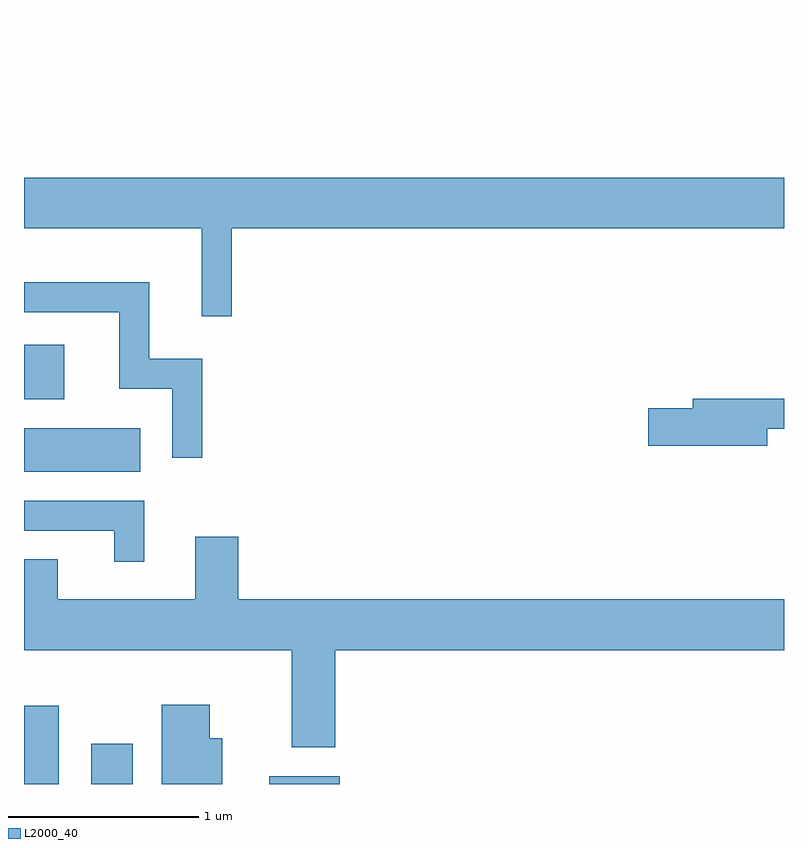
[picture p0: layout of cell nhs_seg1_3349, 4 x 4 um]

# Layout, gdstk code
import gdstk
lib = gdstk.Library(unit=1e-6, precision=1e-09)
def R(c, l, rs):  # rectangles x0, y0, x1, y1
    for r in rs: c.add(gdstk.rectangle(r[:2], r[2:], *l))
def P(c, l, *ps):  # polygons
    for p in ps: c.add(gdstk.Polygon(p, *l))
L2000_40 = (2000, 40)

nhs_seg1_3349 = lib.new_cell('nhs_seg1_3349')
R(nhs_seg1_3349, L2000_40, [(285.611,947.712,285.794,948.124), (285.966,947.712,286.184,947.924), (286.901,947.712,287.274,947.754), (285.611,949.356,286.224,949.584), (285.611,949.736,285.824,950.024), (286.306,951.711,286.934,951.712)])
P(nhs_seg1_3349, L2000_40, [(286.704,950.636),(289.611,950.636),(289.611,950.904),(285.611,950.904),(285.611,950.636),(286.546,950.636),(286.546,950.173),(286.704,950.173)],
  [(286.549,949.949),(286.269,949.949),(286.269,950.354),(285.611,950.354),(285.611,950.196),(286.111,950.196),(286.111,949.791),(286.391,949.791),(286.391,949.428),(286.549,949.428)],
  [(289.524,949.581),(289.611,949.581),(289.611,949.739),(289.131,949.739),(289.131,949.689),(288.896,949.689),(288.896,949.491),(289.524,949.491)],
  [(286.244,949.204),(285.611,949.204),(285.611,949.046),(286.086,949.046),(286.086,948.883),(286.244,948.883)],
  [(287.249,948.416),(289.611,948.416),(289.611,948.684),(286.739,948.684),(286.739,949.014),(286.511,949.014),(286.511,948.684),(285.789,948.684),(285.789,948.894),(285.611,948.894),(285.611,948.416),(287.021,948.416),(287.021,947.906),(287.249,947.906)],
  [(286.654,947.954),(286.589,947.954),(286.589,948.129),(286.336,948.129),(286.336,947.712),(286.654,947.712)])

lib.write_gds('nhs_seg1_3349.gds')
